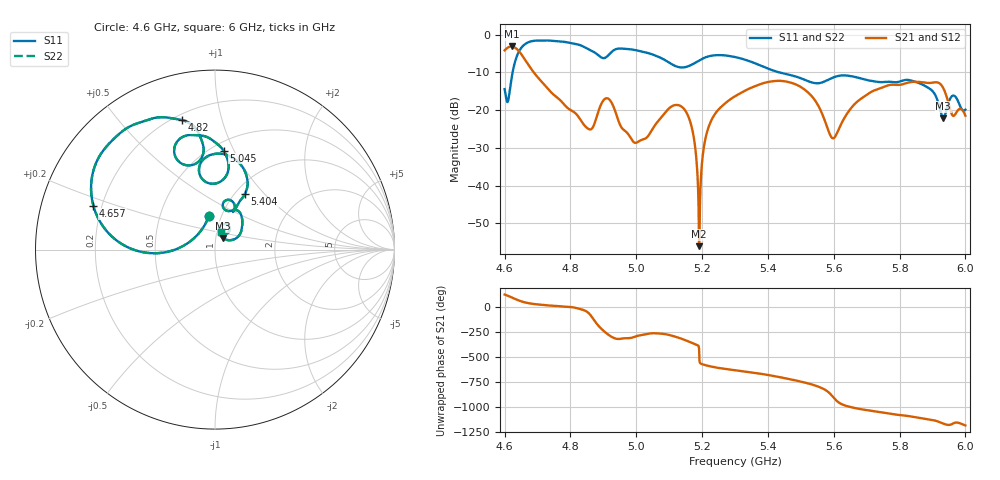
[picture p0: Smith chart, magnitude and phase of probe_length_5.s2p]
! TOUCHSTONE file generated by CST MICROWAVE STUDIO
! Date and time: Sat Nov 30 13:12:00 2024
! Project name: test_tuning.cst
! Parameters = {airCoaxOuterDiameter=3; chamferAngle=45; chamferWidth=24; connectorLength=10; drillingHoleDiameter=4.1; feedLength=60; flareDiameter=130; flareLength=70; gratingDistance=0; gratingGap=1.90274; outletLength=30; polarizerLength=134; probe1Diameter=1.3; probe1Distance=14; probe1Length=1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
! Header version: 2024
! Port assignment regex: !\s*Touchstone port\s*([0-9]+)\s*=\s*(CST MWS port|CST DES external port|CST DES block port)\s*(.+)\s* \(\"(.*)\"\)(\s*mode\s*([0-9]+))?.*
! Touchstone port assignment:
! Touchstone port 1 = CST MWS port 1 ("Input1")
! Touchstone port 2 = CST MWS port 2 ("Input2")
# GHz S MA R 50
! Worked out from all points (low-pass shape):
!   1001 points, 4.6 GHz to 6 GHz, reference 50 ohm
!   highest |S21| = -3.14 dB at 4.621 GHz (marker M1); lowest = -56.1 dB at 5.191 GHz (marker M2)
!   |S21| within 3 dB of the highest: start of sweep to 4.658 GHz
!   lowest |S11| = -22.1 dB at 5.933 GHz (marker M3), VSWR 1.17, Z = 54.4 + j6.89 ohm
!   |S11| at or under -10 dB: start of sweep to 4.624 GHz; 5.434 GHz to end of sweep
!   |S22| runs from -22.1 to -1.5 dB; largest |S21 - S12| = 1.2e-06
!   S11 on the Smith chart (normalised r, x): 4.6 GHz: 0.87, +0.34; 4.657 GHz: 0.17, +0.17; 4.82 GHz: 0.23, +0.75; 5.045 GHz: 0.57, +0.91; 5.404 GHz: 1.11, +0.78; 6 GHz: 1.04, +0.20
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4.6  0.1895 100.5  0.6197 128.4  0.6197 128.4  0.1895 100.5
4.621  0.2626 -177.4  0.6962 100.2  0.6962 100.2  0.2626 -177.4
4.6574  0.7202 160.2  0.4995 53.2  0.4995 53.2  0.7202 160.2
4.8198  0.746 104.4  0.08642 -8.8  0.08642 -8.8  0.746 104.4
4.8338  0.7129 100.9  0.07072 -21.3  0.07072 -21.3  0.7129 100.9
4.9108  0.5112 110.9  0.1436 95.7  0.1436 95.7  0.5112 110.9
4.992  0.6302 94.3  0.03763 59.9  0.03763 59.9  0.6302 94.3
5.0452  0.5538 85.0  0.05222 98.4  0.05222 98.4  0.5538 85.0
5.0676  0.5076 82.1  0.07242 97.1  0.07242 97.1  0.5076 82.1
5.153  0.3749 96.5  0.09206 24.5  0.09206 24.5  0.3749 96.5
5.1754  0.4145 101.2  0.04163 -6.0  0.04163 -6.0  0.4145 101.2
5.1908  0.4531 101.4  0.001569 -52.7  0.001569 -52.7  0.4531 101.4
5.2216  0.5182 95.3  0.06264 128.8  0.06264 128.8  0.5182 95.3
5.3  0.505 75.1  0.1523 87.7  0.1523 87.7  0.505 75.1
5.4036  0.3499 61.7  0.237 37.4  0.237 37.4  0.3499 61.7
5.5338  0.2322 68.1  0.1516 -56.1  0.1516 -56.1  0.2322 68.1
5.5982  0.2704 79.4  0.04218 176.5  0.04218 176.5  0.2704 79.4
5.7676  0.2375 65.1  0.2141 11.9  0.2141 11.9  0.2375 65.1
5.8866  0.1981 40.5  0.2286 -45.5  0.2286 -45.5  0.1981 40.5
5.9328  0.07813 53.7  0.1955 -89.3  0.1955 -89.3  0.07813 53.7
5.9622  0.1555 65.8  0.0839 -88.8  0.0839 -88.8  0.1555 65.8
6  0.1015 72.0  0.08431 -108.1  0.08431 -108.1  0.1015 72.0
